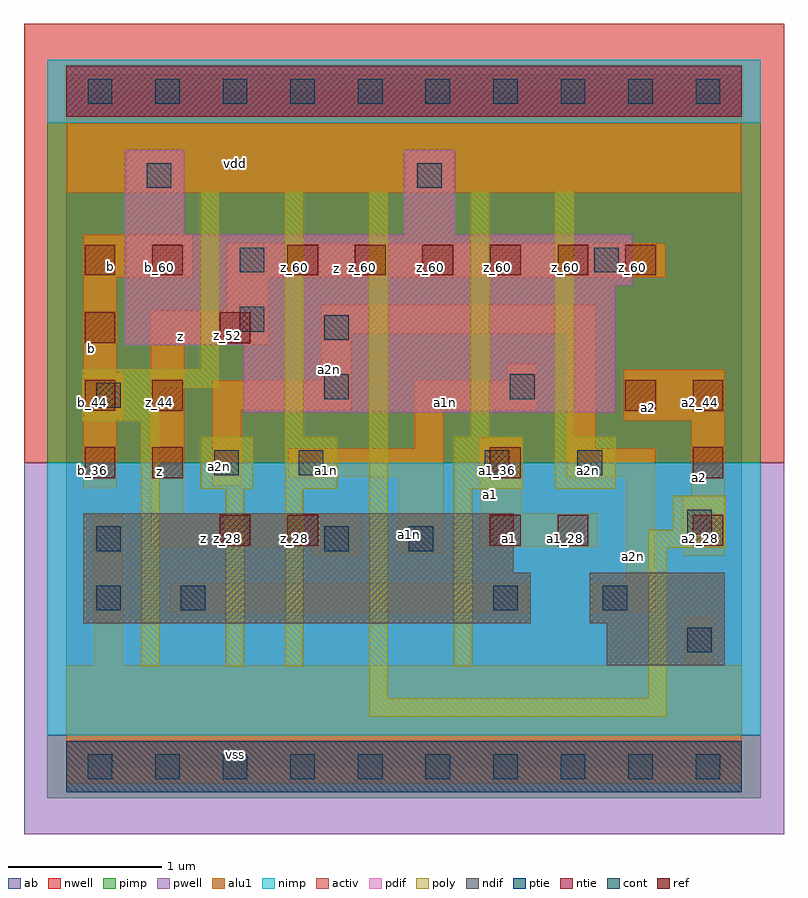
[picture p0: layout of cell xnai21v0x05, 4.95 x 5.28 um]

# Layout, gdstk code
import gdstk
lib = gdstk.Library(unit=1e-6, precision=2.5e-09)
def R(c, l, rs):  # rectangles x0, y0, x1, y1
    for r in rs: c.add(gdstk.rectangle(r[:2], r[2:], *l))
def A(c, l, x, y, w, h, nx, ny, dx, dy):  # array of equal rectangles
    R(c, l, [(x+i*dx, y+j*dy, x+i*dx+w, y+j*dy+h) for i in range(nx) for j in range(ny)])
ndif = (3, 0)
pdif = (4, 0)
ntie = (5, 0)
ptie = (6, 0)
ref = (24, 0)
cont = (25, 0)
pwell = (41, 0)
nwell = (42, 0)
activ = (43, 0)
pimp = (44, 0)
nimp = (45, 0)
poly = (46, 0)
alu1 = (49, 0)
ab = (63, 0)

xnai21v0x05 = lib.new_cell('xnai21v0x05')
R(xnai21v0x05, ndif, [(3.52,0.66,4.29,0.935), (0.11,0.935,3.025,1.265), (3.41,0.935,4.29,1.265), (0.11,1.265,2.915,1.65)])
R(xnai21v0x05, pdif, [(1.155,2.31,3.575,2.75), (0.385,2.75,3.575,3.135), (0.385,3.135,3.685,3.465), (0.385,3.465,0.77,4.015), (2.2,3.465,2.53,4.015)])
R(xnai21v0x05, ntie, [(0,4.235,4.4,4.565)])
R(xnai21v0x05, ptie, [(0,-0.165,4.4,0.165)])
A(xnai21v0x05, ref, 4.08, 1.44, 0.2, 0.2, 1, 3, 0, 0.44)
A(xnai21v0x05, ref, 0.12, 1.88, 0.2, 0.2, 1, 4, 0, 0.44)
A(xnai21v0x05, ref, 1.44, 3.2, 0.2, 0.2, 6, 1, 0.44, 0)
R(xnai21v0x05, ref, [(1,1.44,1.2,1.64), (1.44,1.44,1.64,1.64), (2.76,1.44,2.96,1.64), (3.2,1.44,3.4,1.64), (0.56,1.88,0.76,2.08), (2.76,1.88,2.96,2.08), (0.56,2.32,0.76,2.52), (3.64,2.32,3.84,2.52), (1,2.76,1.2,2.96), (0.56,3.2,0.76,3.4)])
A(xnai21v0x05, cont, 0.14, -0.08, 0.16, 0.16, 10, 2, 0.44, 4.4)
R(xnai21v0x05, cont, [(4.045,0.745,4.205,0.905), (0.195,1.02,0.355,1.18), (0.745,1.02,0.905,1.18), (2.78,1.02,2.94,1.18), (3.495,1.02,3.655,1.18), (0.195,1.405,0.355,1.565), (1.68,1.405,1.84,1.565), (2.23,1.405,2.39,1.565), (4.045,1.515,4.205,1.675), (0.965,1.9,1.125,2.06), (1.515,1.9,1.675,2.06), (2.725,1.9,2.885,2.06), (3.33,1.9,3.49,2.06), (0.195,2.34,0.355,2.5), (1.68,2.395,1.84,2.555), (2.89,2.395,3.05,2.555), (1.68,2.78,1.84,2.94), (1.13,2.835,1.29,2.995), (1.13,3.22,1.29,3.38), (3.44,3.22,3.6,3.38), (0.525,3.77,0.685,3.93), (2.285,3.77,2.445,3.93)])
R(xnai21v0x05, pwell, [(-0.275,-0.44,4.675,1.98)])
R(xnai21v0x05, nwell, [(-0.275,1.98,4.675,4.84)])
R(xnai21v0x05, activ, [(0,-0.165,4.4,0.165), (3.52,0.66,4.29,0.935), (0.11,0.935,3.025,1.265), (3.41,0.935,4.29,1.265), (0.11,1.265,2.915,1.65), (1.155,2.31,3.575,2.75), (0.385,2.75,3.575,3.135), (0.385,3.135,3.685,3.465), (0.385,3.465,0.77,4.015), (2.2,3.465,2.53,4.015), (0,4.235,4.4,4.565)])
R(xnai21v0x05, pimp, [(-0.125,-0.205,4.525,0.205), (-0.125,1.98,4.525,4.195)])
R(xnai21v0x05, nimp, [(-0.125,0.205,4.525,1.98), (-0.125,4.195,4.525,4.605)])
R(xnai21v0x05, poly, [(1.975,0.325,3.91,0.445), (1.975,0.445,2.095,3.745), (3.79,0.445,3.91,1.425), (0.49,0.655,0.61,2.25), (1.04,0.655,1.16,1.81), (1.425,0.655,1.545,1.81), (2.525,0.655,2.645,1.81), (3.79,1.425,4.295,1.545), (3.955,1.545,4.295,1.765), (0.875,1.81,1.215,2.15), (1.425,1.81,1.765,2.15), (2.525,1.81,2.975,2.15), (3.185,1.81,3.58,2.15), (1.425,2.15,1.545,3.745), (2.635,2.15,2.755,3.745), (3.185,2.15,3.305,3.745), (0.105,2.25,0.61,2.47), (0.105,2.47,0.995,2.59), (0.875,2.59,0.995,3.745)])
R(xnai21v0x05, alu1, [(0,-0.11,4.4,0.66), (0.18,0.66,0.37,1.635), (4.03,0.66,4.22,0.975), (0.675,1.005,3.01,1.195), (3.425,1.005,3.835,1.195), (3.645,1.195,3.835,1.885), (1.595,1.375,1.925,1.43), (4.015,1.375,4.29,1.76), (2.16,1.39,2.46,1.885), (0.55,1.43,1.925,1.65), (2.695,1.43,3.465,1.65), (0.55,1.65,0.77,2.75), (2.695,1.65,2.97,2.145), (4.07,1.76,4.29,2.255), (0.11,1.815,0.33,2.27), (0.95,1.83,1.14,2.325), (1.445,1.885,2.46,2.075), (3.26,1.885,3.835,2.075), (2.27,2.075,2.46,2.325), (3.26,2.075,3.45,2.82), (3.63,2.255,4.29,2.585), (0.11,2.27,0.37,2.57), (0.95,2.325,1.855,2.515), (2.27,2.325,3.065,2.515), (1.665,2.515,1.855,2.82), (2.875,2.515,3.065,2.625), (0.11,2.57,0.33,3.19), (0.55,2.75,1.32,2.97), (1.665,2.82,3.45,3.01), (1.045,2.97,1.32,3.19), (0.11,3.19,0.825,3.465), (1.045,3.19,3.905,3.41), (0,3.74,4.4,4.51)])
R(xnai21v0x05, ab, [(0,0,4.4,4.4)])
xnai21v0x05.add(gdstk.Label('vss', (1.1,0.0825), layer=49, texttype=0))
xnai21v0x05.add(gdstk.Label('a2', (4.125,1.8825), layer=49, texttype=0))
xnai21v0x05.add(gdstk.Label('a2n', (3.6925,1.3675), layer=49, texttype=0))
xnai21v0x05.add(gdstk.Label('a1', (2.8875,1.485), layer=49, texttype=0))
xnai21v0x05.add(gdstk.Label('a2n', (3.4025,1.9325), layer=49, texttype=0))
xnai21v0x05.add(gdstk.Label('a2', (3.795,2.3375), layer=49, texttype=0))
xnai21v0x05.add(gdstk.Label('a1', (2.7625,1.7725), layer=49, texttype=0))
xnai21v0x05.add(gdstk.Label('a1n', (2.235,1.5125), layer=49, texttype=0))
xnai21v0x05.add(gdstk.Label('z', (0.8925,1.485), layer=49, texttype=0))
xnai21v0x05.add(gdstk.Label('a1n', (1.6975,1.9325), layer=49, texttype=0))
xnai21v0x05.add(gdstk.Label('a2n', (0.9975,1.9525), layer=49, texttype=0))
xnai21v0x05.add(gdstk.Label('a1n', (2.4675,2.3725), layer=49, texttype=0))
xnai21v0x05.add(gdstk.Label('a2n', (1.7125,2.59), layer=49, texttype=0))
xnai21v0x05.add(gdstk.Label('z', (0.605,1.925), layer=49, texttype=0))
xnai21v0x05.add(gdstk.Label('z', (0.7425,2.805), layer=49, texttype=0))
xnai21v0x05.add(gdstk.Label('b', (0.165,2.725), layer=49, texttype=0))
xnai21v0x05.add(gdstk.Label('z', (1.76,3.245), layer=49, texttype=0))
xnai21v0x05.add(gdstk.Label('b', (0.2875,3.2575), layer=49, texttype=0))
xnai21v0x05.add(gdstk.Label('vdd', (1.1,3.9325), layer=49, texttype=0))
xnai21v0x05.add(gdstk.Label('z_60', (3.69,3.25), layer=24, texttype=0))
xnai21v0x05.add(gdstk.Label('z_60', (2.81,3.25), layer=24, texttype=0))
xnai21v0x05.add(gdstk.Label('z_60', (2.37,3.25), layer=24, texttype=0))
xnai21v0x05.add(gdstk.Label('z_60', (1.93,3.25), layer=24, texttype=0))
xnai21v0x05.add(gdstk.Label('z_60', (1.49,3.25), layer=24, texttype=0))
xnai21v0x05.add(gdstk.Label('z_60', (3.25,3.25), layer=24, texttype=0))
xnai21v0x05.add(gdstk.Label('a1_36', (2.81,1.93), layer=24, texttype=0))
xnai21v0x05.add(gdstk.Label('z_52', (1.05,2.81), layer=24, texttype=0))
xnai21v0x05.add(gdstk.Label('b_36', (0.17,1.93), layer=24, texttype=0))
xnai21v0x05.add(gdstk.Label('z_36', (0.61,1.93), layer=24, texttype=0))
xnai21v0x05.add(gdstk.Label('b_44', (0.17,2.37), layer=24, texttype=0))
xnai21v0x05.add(gdstk.Label('z_44', (0.61,2.37), layer=24, texttype=0))
xnai21v0x05.add(gdstk.Label('z_28', (1.49,1.49), layer=24, texttype=0))
xnai21v0x05.add(gdstk.Label('b_52', (0.17,2.81), layer=24, texttype=0))
xnai21v0x05.add(gdstk.Label('b_60', (0.61,3.25), layer=24, texttype=0))
xnai21v0x05.add(gdstk.Label('b_60', (0.17,3.25), layer=24, texttype=0))
xnai21v0x05.add(gdstk.Label('z_28', (1.05,1.49), layer=24, texttype=0))
xnai21v0x05.add(gdstk.Label('a1_28', (2.81,1.49), layer=24, texttype=0))
xnai21v0x05.add(gdstk.Label('a1_28', (3.25,1.49), layer=24, texttype=0))
xnai21v0x05.add(gdstk.Label('a2_28', (4.13,1.49), layer=24, texttype=0))
xnai21v0x05.add(gdstk.Label('a2_44', (4.13,2.37), layer=24, texttype=0))
xnai21v0x05.add(gdstk.Label('a2_44', (3.69,2.37), layer=24, texttype=0))
xnai21v0x05.add(gdstk.Label('a2_36', (4.13,1.93), layer=24, texttype=0))

lib.write_gds('xnai21v0x05.gds')
